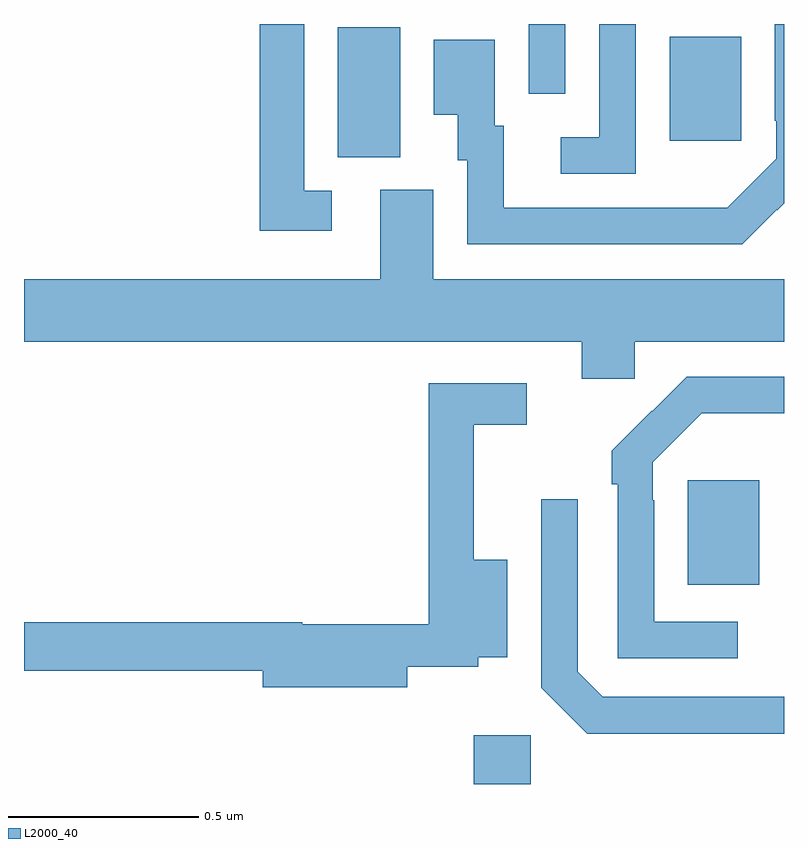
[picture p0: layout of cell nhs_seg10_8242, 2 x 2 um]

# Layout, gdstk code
import gdstk
lib = gdstk.Library(unit=1e-6, precision=1e-09)
def R(c, l, rs):  # rectangles x0, y0, x1, y1
    for r in rs: c.add(gdstk.rectangle(r[:2], r[2:], *l))
def P(c, l, *ps):  # polygons
    for p in ps: c.add(gdstk.Polygon(p, *l))
L2000_40 = (2000, 40)

nhs_seg10_8242 = lib.new_cell('nhs_seg10_8242')
R(nhs_seg10_8242, L2000_40, [(215.183,1284.5,215.334,1284.628), (215.747,1285.025,215.935,1285.3), (214.826,1286.149,214.99,1286.492), (215.699,1286.193,215.887,1286.467), (215.328,1286.316,215.424,1286.5)])
P(nhs_seg10_8242, L2000_40, [(215.981,1286.011),(215.982,1286.01),(216,1286.028),(216,1286.5),(215.976,1286.5),(215.976,1286.245),(215.979,1286.245),(215.979,1286.145),(215.851,1286.017),(215.747,1286.017),(215.747,1286.016),(215.263,1286.016),(215.263,1286.232),(215.239,1286.232),(215.239,1286.458),(215.078,1286.458),(215.078,1286.261),(215.141,1286.261),(215.141,1286.142),(215.166,1286.142),(215.166,1285.92),(215.89,1285.92)],
  [(214.81,1286.061),(214.737,1286.061),(214.737,1286.5),(214.621,1286.5),(214.621,1285.956),(214.81,1285.956)],
  [(215.61,1286.5),(215.514,1286.5),(215.514,1286.202),(215.412,1286.202),(215.412,1286.106),(215.61,1286.106)],
  [(215.607,1285.664),(216,1285.664),(216,1285.828),(215.077,1285.828),(215.077,1286.064),(214.937,1286.064),(214.937,1285.828),(214,1285.828),(214,1285.664),(215.468,1285.664),(215.468,1285.566),(215.607,1285.566)],
  [(215.878,1284.927),(215.658,1284.927),(215.658,1285.247),(215.655,1285.247),(215.655,1285.347),(215.784,1285.476),(216,1285.476),(216,1285.572),(215.744,1285.572),(215.653,1285.481),(215.652,1285.482),(215.547,1285.377),(215.547,1285.289),(215.562,1285.289),(215.562,1284.831),(215.878,1284.831)],
  [(215.008,1284.809),(215.196,1284.809),(215.196,1284.833),(215.272,1284.833),(215.272,1285.09),(215.183,1285.09),(215.183,1285.446),(215.323,1285.446),(215.323,1285.554),(215.065,1285.554),(215.065,1284.92),(214.732,1284.92),(214.732,1284.926),(214,1284.926),(214,1284.798),(214.628,1284.798),(214.628,1284.755),(215.008,1284.755)],
  [(216,1284.729),(215.523,1284.729),(215.457,1284.795),(215.457,1285.249),(215.361,1285.249),(215.361,1284.753),(215.482,1284.632),(216,1284.632)])

lib.write_gds('nhs_seg10_8242.gds')
